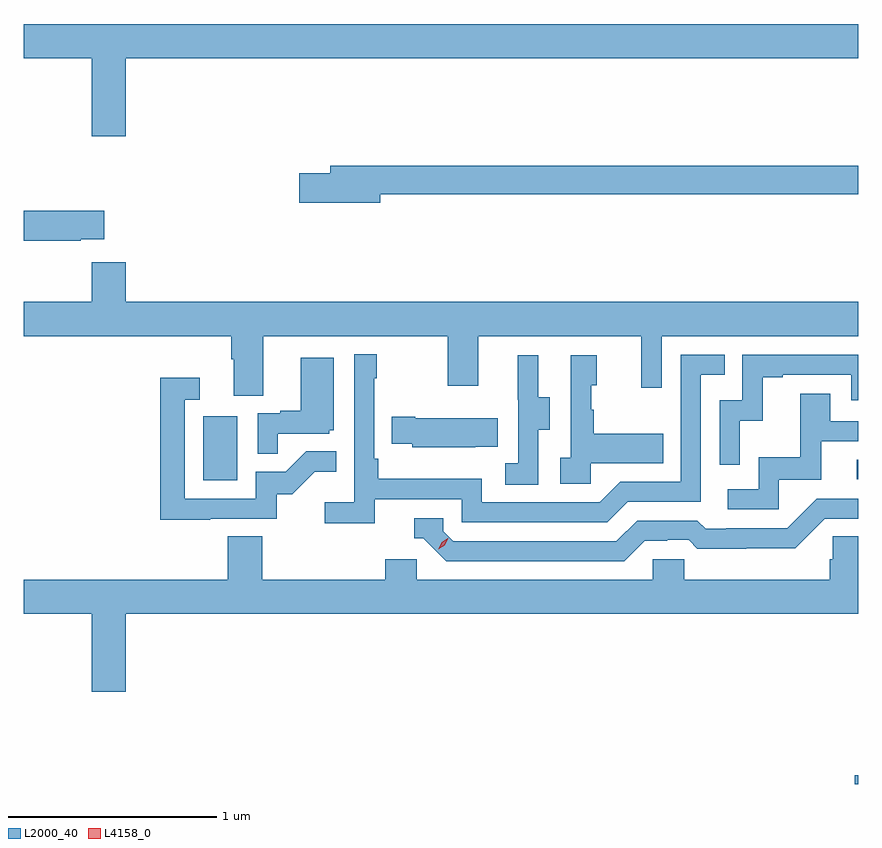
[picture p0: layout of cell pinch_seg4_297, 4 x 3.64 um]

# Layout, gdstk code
import gdstk
lib = gdstk.Library(unit=1e-6, precision=1e-09)
def R(c, l, rs):  # rectangles x0, y0, x1, y1
    for r in rs: c.add(gdstk.rectangle(r[:2], r[2:], *l))
def P(c, l, *ps):  # polygons
    for p in ps: c.add(gdstk.Polygon(p, *l))
L2000_40 = (2000, 40)
L4158_0 = (4158, 0)

pinch_seg4_297 = lib.new_cell('pinch_seg4_297')
R(pinch_seg4_297, L2000_40, [(923.91,801.333,923.926,801.374), (920.786,802.788,920.95,803.095), (923.919,802.794,923.926,802.887)])
P(pinch_seg4_297, L2000_40, [(920.416,804.812),(923.926,804.812),(923.926,804.976),(919.926,804.976),(919.926,804.812),(920.252,804.812),(920.252,804.438),(920.416,804.438)],
  [(921.634,804.16),(923.926,804.16),(923.926,804.296),(921.395,804.296),(921.395,804.26),(921.246,804.26),(921.246,804.118),(921.634,804.118)],
  [(920.198,803.945),(920.311,803.945),(920.311,804.08),(919.926,804.08),(919.926,803.938),(920.198,803.938)],
  [(920.416,803.833),(920.252,803.833),(920.252,803.644),(919.926,803.644),(919.926,803.48),(920.921,803.48),(920.921,803.368),(920.933,803.368),(920.933,803.194),(921.073,803.194),(921.073,803.48),(921.958,803.48),(921.958,803.241),(922.105,803.241),(922.105,803.48),(922.886,803.48),(922.886,803.232),(922.983,803.232),(922.983,803.48),(923.926,803.48),(923.926,803.644),(920.416,803.644)],
  [(921.608,802.698),(922.026,802.698),(922.026,802.587),(922.723,802.587),(922.822,802.686),(923.172,802.686),(923.172,803.295),(923.285,803.295),(923.285,803.391),(923.076,803.391),(923.076,802.782),(922.785,802.782),(922.686,802.683),(922.122,802.683),(922.122,802.795),(921.626,802.795),(921.626,802.891),(921.606,802.891),(921.606,803.279),(921.619,803.279),(921.619,803.392),(921.51,803.392),(921.51,802.684),(921.369,802.684),(921.369,802.582),(921.608,802.582)],
  [(923.358,803.075),(923.468,803.075),(923.468,803.283),(923.563,803.283),(923.563,803.295),(923.892,803.295),(923.892,803.172),(923.926,803.172),(923.926,803.391),(923.37,803.391),(923.37,803.172),(923.262,803.172),(923.262,802.863),(923.358,802.863)],
  [(922.644,802.871),(922.991,802.871),(922.991,803.011),(922.657,803.011),(922.657,803.126),(922.647,803.126),(922.647,803.244),(922.672,803.244),(922.672,803.389),(922.548,803.389),(922.548,802.898),(922.497,802.898),(922.497,802.773),(922.644,802.773)],
  [(922.392,803.032),(922.447,803.032),(922.447,803.187),(922.393,803.187),(922.393,803.389),(922.295,803.389),(922.295,803.175),(922.296,803.175),(922.296,802.871),(922.233,802.871),(922.233,802.768),(922.392,802.768)],
  [(921.143,803.013),(921.39,803.013),(921.39,803.028),(921.412,803.028),(921.412,803.377),(921.254,803.377),(921.254,803.122),(921.155,803.122),(921.155,803.109),(921.048,803.109),(921.048,802.915),(921.143,802.915)],
  [(920.819,802.605),(921.138,802.605),(921.138,802.722),(921.214,802.722),(921.321,802.829),(921.425,802.829),(921.425,802.928),(921.281,802.928),(921.183,802.83),(921.039,802.83),(921.039,802.701),(920.697,802.701),(920.697,803.175),(920.77,803.175),(920.77,803.281),(920.581,803.281),(920.581,802.6),(920.819,802.6)],
  [(923.544,802.791),(923.749,802.791),(923.749,802.977),(923.926,802.977),(923.926,803.073),(923.791,803.073),(923.791,803.203),(923.647,803.203),(923.647,802.9),(923.448,802.9),(923.448,802.746),(923.301,802.746),(923.301,802.65),(923.544,802.65)],
  [(922.091,802.949),(922.199,802.949),(922.199,803.086),(921.802,803.086),(921.802,803.094),(921.691,803.094),(921.691,802.964),(921.789,802.964),(921.789,802.946),(922.091,802.946)],
  [(922.903,802.5),(923.01,802.5),(923.01,802.503),(923.113,802.503),(923.155,802.461),(923.388,802.461),(923.388,802.463),(923.624,802.463),(923.766,802.605),(923.926,802.605),(923.926,802.701),(923.727,802.701),(923.586,802.56),(923.293,802.56),(923.293,802.557),(923.194,802.557),(923.155,802.596),(922.866,802.596),(922.767,802.497),(921.984,802.497),(921.936,802.545),(921.936,802.608),(921.797,802.608),(921.797,802.512),(921.84,802.512),(921.951,802.401),(922.804,802.401)],
  [(920.416,802.148),(923.926,802.148),(923.926,802.52),(923.803,802.52),(923.803,802.41),(923.789,802.41),(923.789,802.312),(923.091,802.312),(923.091,802.41),(922.941,802.41),(922.941,802.312),(921.81,802.312),(921.81,802.41),(921.659,802.41),(921.659,802.312),(921.068,802.312),(921.068,802.52),(920.903,802.52),(920.903,802.312),(919.926,802.312),(919.926,802.148),(920.252,802.148),(920.252,801.774),(920.416,801.774)])
P(pinch_seg4_297, L4158_0, [(921.913,802.459),(921.913,802.459),(921.929,802.492),(921.959,802.511),(921.96,802.511),(921.96,802.511),(921.944,802.478),(921.913,802.459)])

lib.write_gds('pinch_seg4_297.gds')
